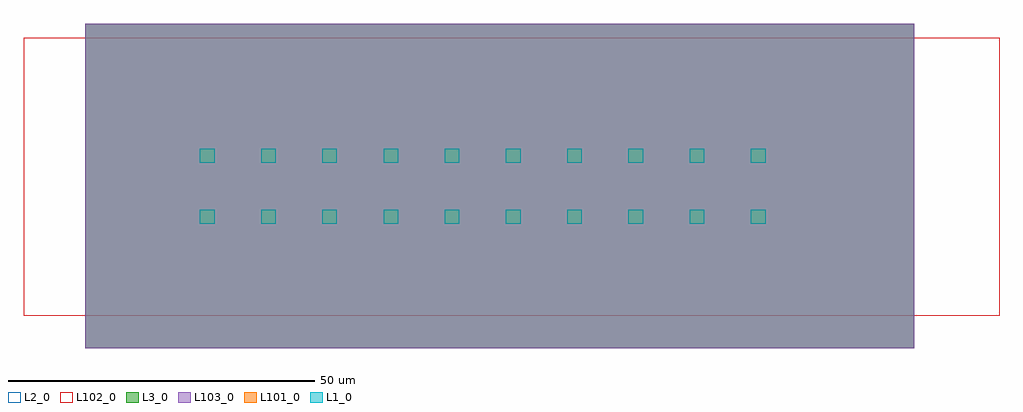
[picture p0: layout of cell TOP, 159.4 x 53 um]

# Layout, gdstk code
import gdstk
lib = gdstk.Library(unit=1e-6, precision=1e-09)
def R(c, l, rs):  # rectangles x0, y0, x1, y1
    for r in rs: c.add(gdstk.rectangle(r[:2], r[2:], *l))
def A(c, l, x, y, w, h, nx, ny, dx, dy):  # array of equal rectangles
    R(c, l, [(x+i*dx, y+j*dy, x+i*dx+w, y+j*dy+h) for i in range(nx) for j in range(ny)])
L1_0 = (1, 0)
L2_0 = (2, 0)
L3_0 = (3, 0)
L101_0 = (101, 0)
L102_0 = (102, 0)
L103_0 = (103, 0)

c_c1 = lib.new_cell('C1')
R(c_c1, L1_0, [(-1.2,-1,1.2,1.3)])

top = lib.new_cell('TOP')
R(top, L2_0, [(-12.6,-7.1,146.8,38.3)])
R(top, L3_0, [(-2.5,-12.4,132.9,40.6)])
A(top, L101_0, 16.2, 7.9, 2.4, 2.3, 10, 2, 10, 10)
R(top, L102_0, [(-12.6,-7.1,146.8,38.3)])
R(top, L103_0, [(-2.5,-12.4,132.9,40.6)])
r = gdstk.Reference(c_c1, (17.4,8.9)); r.repetition = gdstk.Repetition(10, 2, v1=(10,0), v2=(0,10)); top.add(r)

lib.write_gds('TOP.gds')
